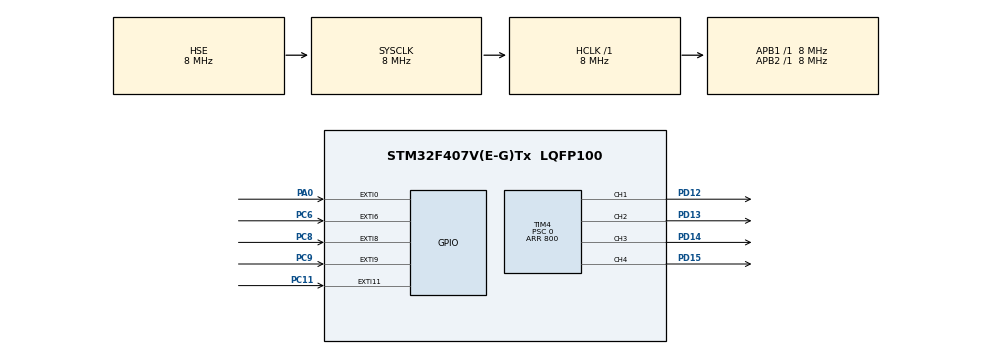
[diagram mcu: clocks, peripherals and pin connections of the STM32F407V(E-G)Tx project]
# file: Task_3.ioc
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Mcu.Family=STM32F4
Mcu.Name=STM32F407V(E-G)Tx
Mcu.Package=LQFP100
NVIC.EXTI0_IRQn=true\:0\:0\:false\:false\:true\:true\:true
NVIC.EXTI15_10_IRQn=true\:0\:0\:false\:false\:true\:true\:true
NVIC.EXTI9_5_IRQn=true\:0\:0\:false\:false\:true\:true\:true
NVIC.PriorityGroup=NVIC_PRIORITYGROUP_4
PA0-WKUP.GPIO_ModeDefaultEXTI=GPIO_MODE_IT_RISING
PA0-WKUP.GPIO_PuPd=GPIO_PULLDOWN
PA0-WKUP.Signal=GPXTI0
PC11.GPIO_ModeDefaultEXTI=GPIO_MODE_IT_FALLING
PC11.GPIO_PuPd=GPIO_PULLDOWN
PC11.Signal=GPXTI11
PC6.GPIO_ModeDefaultEXTI=GPIO_MODE_IT_FALLING
PC6.GPIO_PuPd=GPIO_PULLDOWN
PC6.Signal=GPXTI6
PC8.GPIO_ModeDefaultEXTI=GPIO_MODE_IT_FALLING
PC8.GPIO_PuPd=GPIO_PULLDOWN
PC8.Signal=GPXTI8
PC9.GPIO_ModeDefaultEXTI=GPIO_MODE_IT_FALLING
PC9.GPIO_PuPd=GPIO_PULLDOWN
PC9.Signal=GPXTI9
PD12.GPIO_PuPd=GPIO_PULLDOWN
PD12.Signal=S_TIM4_CH1
PD13.GPIO_PuPd=GPIO_PULLDOWN
PD13.Signal=S_TIM4_CH2
PD14.GPIO_PuPd=GPIO_PULLDOWN
PD14.Signal=S_TIM4_CH3
PD15.GPIO_PuPd=GPIO_PULLDOWN
PD15.Signal=S_TIM4_CH4
PH0-OSC_IN.Mode=HSE-External-Oscillator
PH0-OSC_IN.Signal=RCC_OSC_IN
PH1-OSC_OUT.Mode=HSE-External-Oscillator
PH1-OSC_OUT.Signal=RCC_OSC_OUT
ProjectManager.HeapSize=0x200
ProjectManager.StackSize=0x400
ProjectManager.TargetToolchain=STM32CubeIDE
RCC.48MHZClocksFreq_Value=24000000
RCC.AHBFreq_Value=8000000
RCC.APB1Freq_Value=8000000
RCC.APB1TimFreq_Value=8000000
RCC.APB2Freq_Value=8000000
RCC.APB2TimFreq_Value=8000000
RCC.CortexFreq_Value=8000000
RCC.HCLKFreq_Value=8000000
RCC.HSE_VALUE=8000000
RCC.HSI_VALUE=16000000
RCC.LSE_VALUE=32768
RCC.PLLSourceVirtual=RCC_PLLSOURCE_HSE
RCC.SYSCLKFreq_VALUE=8000000
RCC.SYSCLKSource=RCC_SYSCLKSOURCE_HSE
RCC.VCOOutputFreq_Value=96000000
SH.S_TIM4_CH1.0=TIM4_CH1,PWM Generation1 CH1
SH.S_TIM4_CH2.0=TIM4_CH2,PWM Generation2 CH2
SH.S_TIM4_CH3.0=TIM4_CH3,PWM Generation3 CH3
SH.S_TIM4_CH4.0=TIM4_CH4,PWM Generation4 CH4
TIM4.AutoReloadPreload=TIM_AUTORELOAD_PRELOAD_ENABLE
TIM4.Channel-PWM\ Generation1\ CH1=TIM_CHANNEL_1
TIM4.Channel-PWM\ Generation2\ CH2=TIM_CHANNEL_2
TIM4.Channel-PWM\ Generation3\ CH3=TIM_CHANNEL_3
TIM4.Channel-PWM\ Generation4\ CH4=TIM_CHANNEL_4
TIM4.Period=800
TIM4.Prescaler=0
TIM4.Pulse-PWM\ Generation1\ CH1=0
TIM4.Pulse-PWM\ Generation2\ CH2=0
TIM4.Pulse-PWM\ Generation3\ CH3=0
TIM4.Pulse-PWM\ Generation4\ CH4=0
VP_TIM4_VS_ClockSourceINT.Mode=Internal
board=custom

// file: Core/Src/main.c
/* USER CODE BEGIN Header */
/**
  ******************************************************************************
  * @file           : main.c
  * @brief          : Main program body
  ******************************************************************************
  * @attention
  *
  * <h2><center>&copy; Copyright (c) 2021 STMicroelectronics.
  * All rights reserved.</center></h2>
  *
  * This software component is licensed by ST under BSD 3-Clause license,
  * the "License"; You may not use this file except in compliance with the
  * License. You may obtain a copy of the License at:
  *                        opensource.org/licenses/BSD-3-Clause
  *
  ******************************************************************************
  */
/* USER CODE END Header */
#include "main.h"

/* USER CODE BEGIN PTD */
typedef enum ledOutput {
	LED_CH_1 = 1,
	LED_CH_2,
	LED_CH_3,
	LED_CH_4
} ledOutput;

/* USER CODE END PTD */

/* USER CODE BEGIN PD */
#define SIGNAL_FREQ_STEP 5000
#define SIGNAL_FREQ_MIN SIGNAL_FREQ_STEP
#define SIGNAL_FREQ_MAX 100000
#define DCYCLE_SW_STEP 5
#define BASE_CLOCK_FREQ 8000000
/* TIM4 is connected to APB1 bus, which has on F407 device 42MHz clock  		     */
/* But, timer has internal PLL, which double this frequency for timer, up to 84MHz   */
/* But our case is not similar, check config file to see RCC.APB1Freq_Value=8000000  */
#define CALC_TIM_PERIOD(b) (((BASE_CLOCK_FREQ) / (b)) - 1 )
#define CALC_PULSE_LENGTH(a,b) ( (((a) * (b)) / 100) )

/* USER CODE END PD */

TIM_HandleTypeDef htim4;

/* USER CODE BEGIN PV */
volatile int32_t signalFrequency = 25000;
volatile ledOutput signalOutput = LED_CH_1;
volatile int16_t dcyclePWM = 25;	/* 25% duty cycle */
int32_t timPeriod = 800;
int32_t pulseLength = 0;

/* USER CODE END PV */

void SystemClock_Config(void);
static void MX_GPIO_Init(void);
static void MX_TIM4_Init(void);
/* USER CODE BEGIN PFP */
static void setDutyCycle(void);
static void setFrequency(void);
static void changeChannel(uint8_t channel, int32_t pulseLegth);
static void setTimPeriod(int32_t frequency, int16_t dutyCycle);
/* USER CODE END PFP */

/* USER CODE BEGIN 0 */

void HAL_GPIO_EXTI_Callback(uint16_t GPIO_Pin)
{

	if(GPIO_Pin == GPIO_PIN_0)
	{
		if (signalOutput > 4)
			signalOutput = LED_CH_1;
		else
			signalOutput++;
		changeChannel(signalOutput, pulseLength);
	}
	else
	if(GPIO_Pin == GPIO_PIN_11)
	{
		dcyclePWM+= DCYCLE_SW_STEP;
		setDutyCycle();
		changeChannel(signalOutput, pulseLength);
	}
	else
	if(GPIO_Pin == GPIO_PIN_9)
	{
		dcyclePWM-= DCYCLE_SW_STEP;
		setDutyCycle();
		changeChannel(signalOutput, pulseLength);
	}
	else
	if(GPIO_Pin == GPIO_PIN_6)
	{
		signalFrequency+= SIGNAL_FREQ_STEP;
		setFrequency();
		changeChannel(signalOutput, pulseLength);
	}
	else
	if(GPIO_Pin == GPIO_PIN_8)
	{
		signalFrequency-= SIGNAL_FREQ_STEP;
		setFrequency();
		changeChannel(signalOutput, pulseLength);
	}
}

static void setDutyCycle(void)
{
	if (dcyclePWM > 100)
		dcyclePWM = 100;
	else if(dcyclePWM < 0)
		dcyclePWM = 0;

	setTimPeriod(signalFrequency, dcyclePWM);
}

static void setTimPeriod(int32_t frequency, int16_t dutyCycle)
{
	timPeriod =  CALC_TIM_PERIOD(signalFrequency);
	TIM4->ARR = timPeriod;
	pulseLength =  CALC_PULSE_LENGTH(timPeriod, dcyclePWM);
}

static void setFrequency(void)
{
	if(signalFrequency > SIGNAL_FREQ_MAX)
		signalFrequency = SIGNAL_FREQ_MAX;
	else if(signalFrequency < SIGNAL_FREQ_MIN)
		signalFrequency = SIGNAL_FREQ_MIN;

	setTimPeriod(signalFrequency, dcyclePWM);
}

static void changeChannel(uint8_t channel, int32_t pulseLegth )
{
	if (channel == LED_CH_1)
	{
		TIM4->CCR1 = pulseLength;
		TIM4->CCR2 = 0;
		TIM4->CCR3 = 0;
		TIM4->CCR4 = 0;
	}
	else if (channel == LED_CH_2)
	{
		TIM4->CCR1 = 0;
		TIM4->CCR2 = pulseLength;
		TIM4->CCR3 = 0;
		TIM4->CCR4 = 0;
	}
	else if (channel == LED_CH_3)
	{
		TIM4->CCR1 = 0;
		TIM4->CCR2 = 0;
		TIM4->CCR3 = pulseLength;
		TIM4->CCR4 = 0;
	}
	else if (channel == LED_CH_4)
	{
		TIM4->CCR1 = 0;
		TIM4->CCR2 = 0;
		TIM4->CCR3 = 0;
		TIM4->CCR4 = pulseLength;
	}
	else
	{
		TIM4->CCR1 = 0;
		TIM4->CCR2 = 0;
		TIM4->CCR3 = 0;
		TIM4->CCR4 = 0;
	}
}

/* USER CODE END 0 */

int main(void)
{

  /* MCU Configuration--------------------------------------------------------*/

  /* Reset of all peripherals, Initializes the Flash interface and the Systick. */
  HAL_Init();

  /* Configure the system clock */
  SystemClock_Config();

  /* Initialize all configured peripherals */
  MX_GPIO_Init();
  MX_TIM4_Init();
  /* USER CODE BEGIN 2 */
  HAL_TIM_PWM_Start(&htim4, TIM_CHANNEL_1);
  HAL_TIM_PWM_Start(&htim4, TIM_CHANNEL_2);
  HAL_TIM_PWM_Start(&htim4, TIM_CHANNEL_3);
  HAL_TIM_PWM_Start(&htim4, TIM_CHANNEL_4);
  setDutyCycle();
  setFrequency();
  changeChannel(signalOutput, pulseLength);

  /* USER CODE END 2 */

  /* Infinite loop */
  while (1)
  {

  }
}

void SystemClock_Config(void)
{
  RCC_OscInitTypeDef RCC_OscInitStruct = {0};
  RCC_ClkInitTypeDef RCC_ClkInitStruct = {0};

  /** Configure the main internal regulator output voltage
  */
  __HAL_RCC_PWR_CLK_ENABLE();
  __HAL_PWR_VOLTAGESCALING_CONFIG(PWR_REGULATOR_VOLTAGE_SCALE1);
  /** Initializes the RCC Oscillators according to the specified parameters
  * in the RCC_OscInitTypeDef structure.
  */
  RCC_OscInitStruct.OscillatorType = RCC_OSCILLATORTYPE_HSE;
  RCC_OscInitStruct.HSEState = RCC_HSE_ON;
  RCC_OscInitStruct.PLL.PLLState = RCC_PLL_NONE;
  if (HAL_RCC_OscConfig(&RCC_OscInitStruct) != HAL_OK)
  {
    Error_Handler();
  }
  /** Initializes the CPU, AHB and APB buses clocks
  */
  RCC_ClkInitStruct.ClockType = RCC_CLOCKTYPE_HCLK|RCC_CLOCKTYPE_SYSCLK
                              |RCC_CLOCKTYPE_PCLK1|RCC_CLOCKTYPE_PCLK2;
  RCC_ClkInitStruct.SYSCLKSource = RCC_SYSCLKSOURCE_HSE;
  RCC_ClkInitStruct.AHBCLKDivider = RCC_SYSCLK_DIV1;
  RCC_ClkInitStruct.APB1CLKDivider = RCC_HCLK_DIV1;
  RCC_ClkInitStruct.APB2CLKDivider = RCC_HCLK_DIV1;

  if (HAL_RCC_ClockConfig(&RCC_ClkInitStruct, FLASH_LATENCY_0) != HAL_OK)
  {
    Error_Handler();
  }
}

static void MX_TIM4_Init(void)
{

  TIM_ClockConfigTypeDef sClockSourceConfig = {0};
  TIM_MasterConfigTypeDef sMasterConfig = {0};
  TIM_OC_InitTypeDef sConfigOC = {0};

  htim4.Instance = TIM4;
  htim4.Init.Prescaler = 0;
  htim4.Init.CounterMode = TIM_COUNTERMODE_UP;
  htim4.Init.Period = 800;
  htim4.Init.ClockDivision = TIM_CLOCKDIVISION_DIV1;
  htim4.Init.AutoReloadPreload = TIM_AUTORELOAD_PRELOAD_ENABLE;
  if (HAL_TIM_Base_Init(&htim4) != HAL_OK)
  {
    Error_Handler();
  }
  sClockSourceConfig.ClockSource = TIM_CLOCKSOURCE_INTERNAL;
  if (HAL_TIM_ConfigClockSource(&htim4, &sClockSourceConfig) != HAL_OK)
  {
    Error_Handler();
  }
  if (HAL_TIM_PWM_Init(&htim4) != HAL_OK)
  {
    Error_Handler();
  }
  sMasterConfig.MasterOutputTrigger = TIM_TRGO_RESET;
  sMasterConfig.MasterSlaveMode = TIM_MASTERSLAVEMODE_DISABLE;
  if (HAL_TIMEx_MasterConfigSynchronization(&htim4, &sMasterConfig) != HAL_OK)
  {
    Error_Handler();
  }
  sConfigOC.OCMode = TIM_OCMODE_PWM1;
  sConfigOC.Pulse = 0;
  sConfigOC.OCPolarity = TIM_OCPOLARITY_HIGH;
  sConfigOC.OCFastMode = TIM_OCFAST_DISABLE;
  if (HAL_TIM_PWM_ConfigChannel(&htim4, &sConfigOC, TIM_CHANNEL_1) != HAL_OK)
  {
    Error_Handler();
  }
  if (HAL_TIM_PWM_ConfigChannel(&htim4, &sConfigOC, TIM_CHANNEL_2) != HAL_OK)
  {
    Error_Handler();
  }
  if (HAL_TIM_PWM_ConfigChannel(&htim4, &sConfigOC, TIM_CHANNEL_3) != HAL_OK)
  {
    Error_Handler();
  }
  if (HAL_TIM_PWM_ConfigChannel(&htim4, &sConfigOC, TIM_CHANNEL_4) != HAL_OK)
  {
    Error_Handler();
  }
  HAL_TIM_MspPostInit(&htim4);

}

static void MX_GPIO_Init(void)
{
  GPIO_InitTypeDef GPIO_InitStruct = {0};

  /* GPIO Ports Clock Enable */
  __HAL_RCC_GPIOH_CLK_ENABLE();
  __HAL_RCC_GPIOA_CLK_ENABLE();
  __HAL_RCC_GPIOD_CLK_ENABLE();
  __HAL_RCC_GPIOC_CLK_ENABLE();

  /*Configure GPIO pin : PA0 */
  GPIO_InitStruct.Pin = GPIO_PIN_0;
  GPIO_InitStruct.Mode = GPIO_MODE_IT_RISING;
  GPIO_InitStruct.Pull = GPIO_PULLDOWN;
  HAL_GPIO_Init(GPIOA, &GPIO_InitStruct);

  /*Configure GPIO pins : PC6 PC8 PC9 PC11 */
  GPIO_InitStruct.Pin = GPIO_PIN_6|GPIO_PIN_8|GPIO_PIN_9|GPIO_PIN_11;
  GPIO_InitStruct.Mode = GPIO_MODE_IT_FALLING;
  GPIO_InitStruct.Pull = GPIO_PULLDOWN;
  HAL_GPIO_Init(GPIOC, &GPIO_InitStruct);

  /* EXTI interrupt init*/
  HAL_NVIC_SetPriority(EXTI0_IRQn, 0, 0);
  HAL_NVIC_EnableIRQ(EXTI0_IRQn);

  HAL_NVIC_SetPriority(EXTI9_5_IRQn, 0, 0);
  HAL_NVIC_EnableIRQ(EXTI9_5_IRQn);

  HAL_NVIC_SetPriority(EXTI15_10_IRQn, 0, 0);
  HAL_NVIC_EnableIRQ(EXTI15_10_IRQn);

}

void Error_Handler(void)
{
  __disable_irq();
  while (1)
  {
  }
}

/************************ (C) COPYRIGHT STMicroelectronics *****END OF FILE****/
